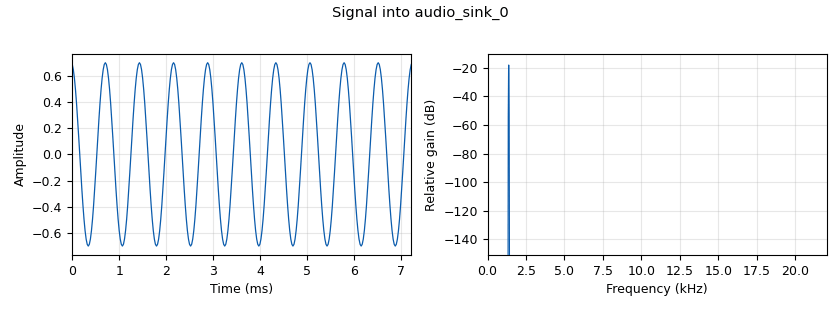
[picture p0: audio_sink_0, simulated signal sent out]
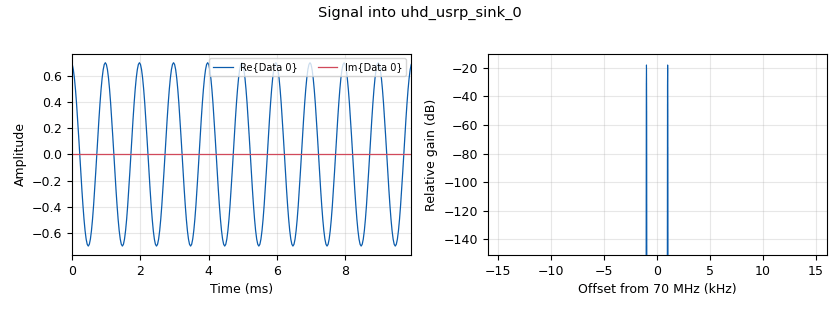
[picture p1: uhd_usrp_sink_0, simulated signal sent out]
options:
  parameters:
    author: ekocinar
    generate_options: qt_gui
    id: usrp_comm_link
    output_language: python
    title: Not titled yet
  states: {}

blocks:
- name: gain
  id: variable
  parameters:
    value: '25'
  states: {}
- name: max_gain
  id: variable
  parameters:
    value: '27'
  states: {}
- name: rx_center_freq
  id: variable_qtgui_entry
  parameters:
    type: int
    value: '70000000'
  states: {}
- name: samp_rate
  id: variable
  parameters:
    value: '32000'
  states: {}
- name: tx_center_freq
  id: variable_qtgui_entry
  parameters:
    type: int
    value: '70000000'
  states: {}
- name: analog_sig_source_x_0
  id: analog_sig_source_x
  parameters:
    amp: '0.7'
    freq: '1000'
    offset: '0'
    phase: '0'
    samp_rate: samp_rate
    type: float
    waveform: analog.GR_COS_WAVE
  states: {}
- name: audio_sink_0
  id: audio_sink
  parameters:
    ok_to_block: 'False'
    samp_rate: '44100'
  states: {}
- name: blocks_complex_to_float_0
  id: blocks_complex_to_float
  parameters: {}
  states: {}
- name: blocks_float_to_complex_0
  id: blocks_float_to_complex
  parameters: {}
  states: {}
- name: qtgui_freq_sink_x_0
  id: qtgui_freq_sink_x
  parameters:
    bw: samp_rate
    fc: '0'
    fftsize: '1024'
    label1: Received Signal
    label2: Original Signal
    nconnections: '2'
    type: float
  states: {}
- name: qtgui_time_sink_x_0
  id: qtgui_time_sink_x
  parameters:
    label1: Received Signal
    label2: Original Signal
    nconnections: '2'
    size: '1024'
    srate: samp_rate
    type: float
  states: {}
- name: uhd_usrp_sink_0
  id: uhd_usrp_sink
  parameters:
    ant0: '"TX/RX"'
    center_freq0: tx_center_freq
    dev_addr: addr=192.168.10.2
    gain0: gain
    samp_rate: samp_rate
    sync: none
    type: fc32
  states: {}
- name: uhd_usrp_source_0
  id: uhd_usrp_source
  parameters:
    ant0: '"TX/RX"'
    center_freq0: rx_center_freq
    dev_addr: addr=192.168.20.2
    gain0: max_gain-gain
    samp_rate: samp_rate
    sync: none
    type: fc32
  states: {}

connections:
- [analog_sig_source_x_0, '0', audio_sink_0, '0']
- [analog_sig_source_x_0, '0', blocks_float_to_complex_0, '0']
- [analog_sig_source_x_0, '0', qtgui_freq_sink_x_0, '1']
- [analog_sig_source_x_0, '0', qtgui_time_sink_x_0, '1']
- [blocks_complex_to_float_0, '0', qtgui_freq_sink_x_0, '0']
- [blocks_complex_to_float_0, '0', qtgui_time_sink_x_0, '0']
- [blocks_float_to_complex_0, '0', uhd_usrp_sink_0, '0']
- [uhd_usrp_source_0, '0', blocks_complex_to_float_0, '0']

metadata:
  file_format: 1
